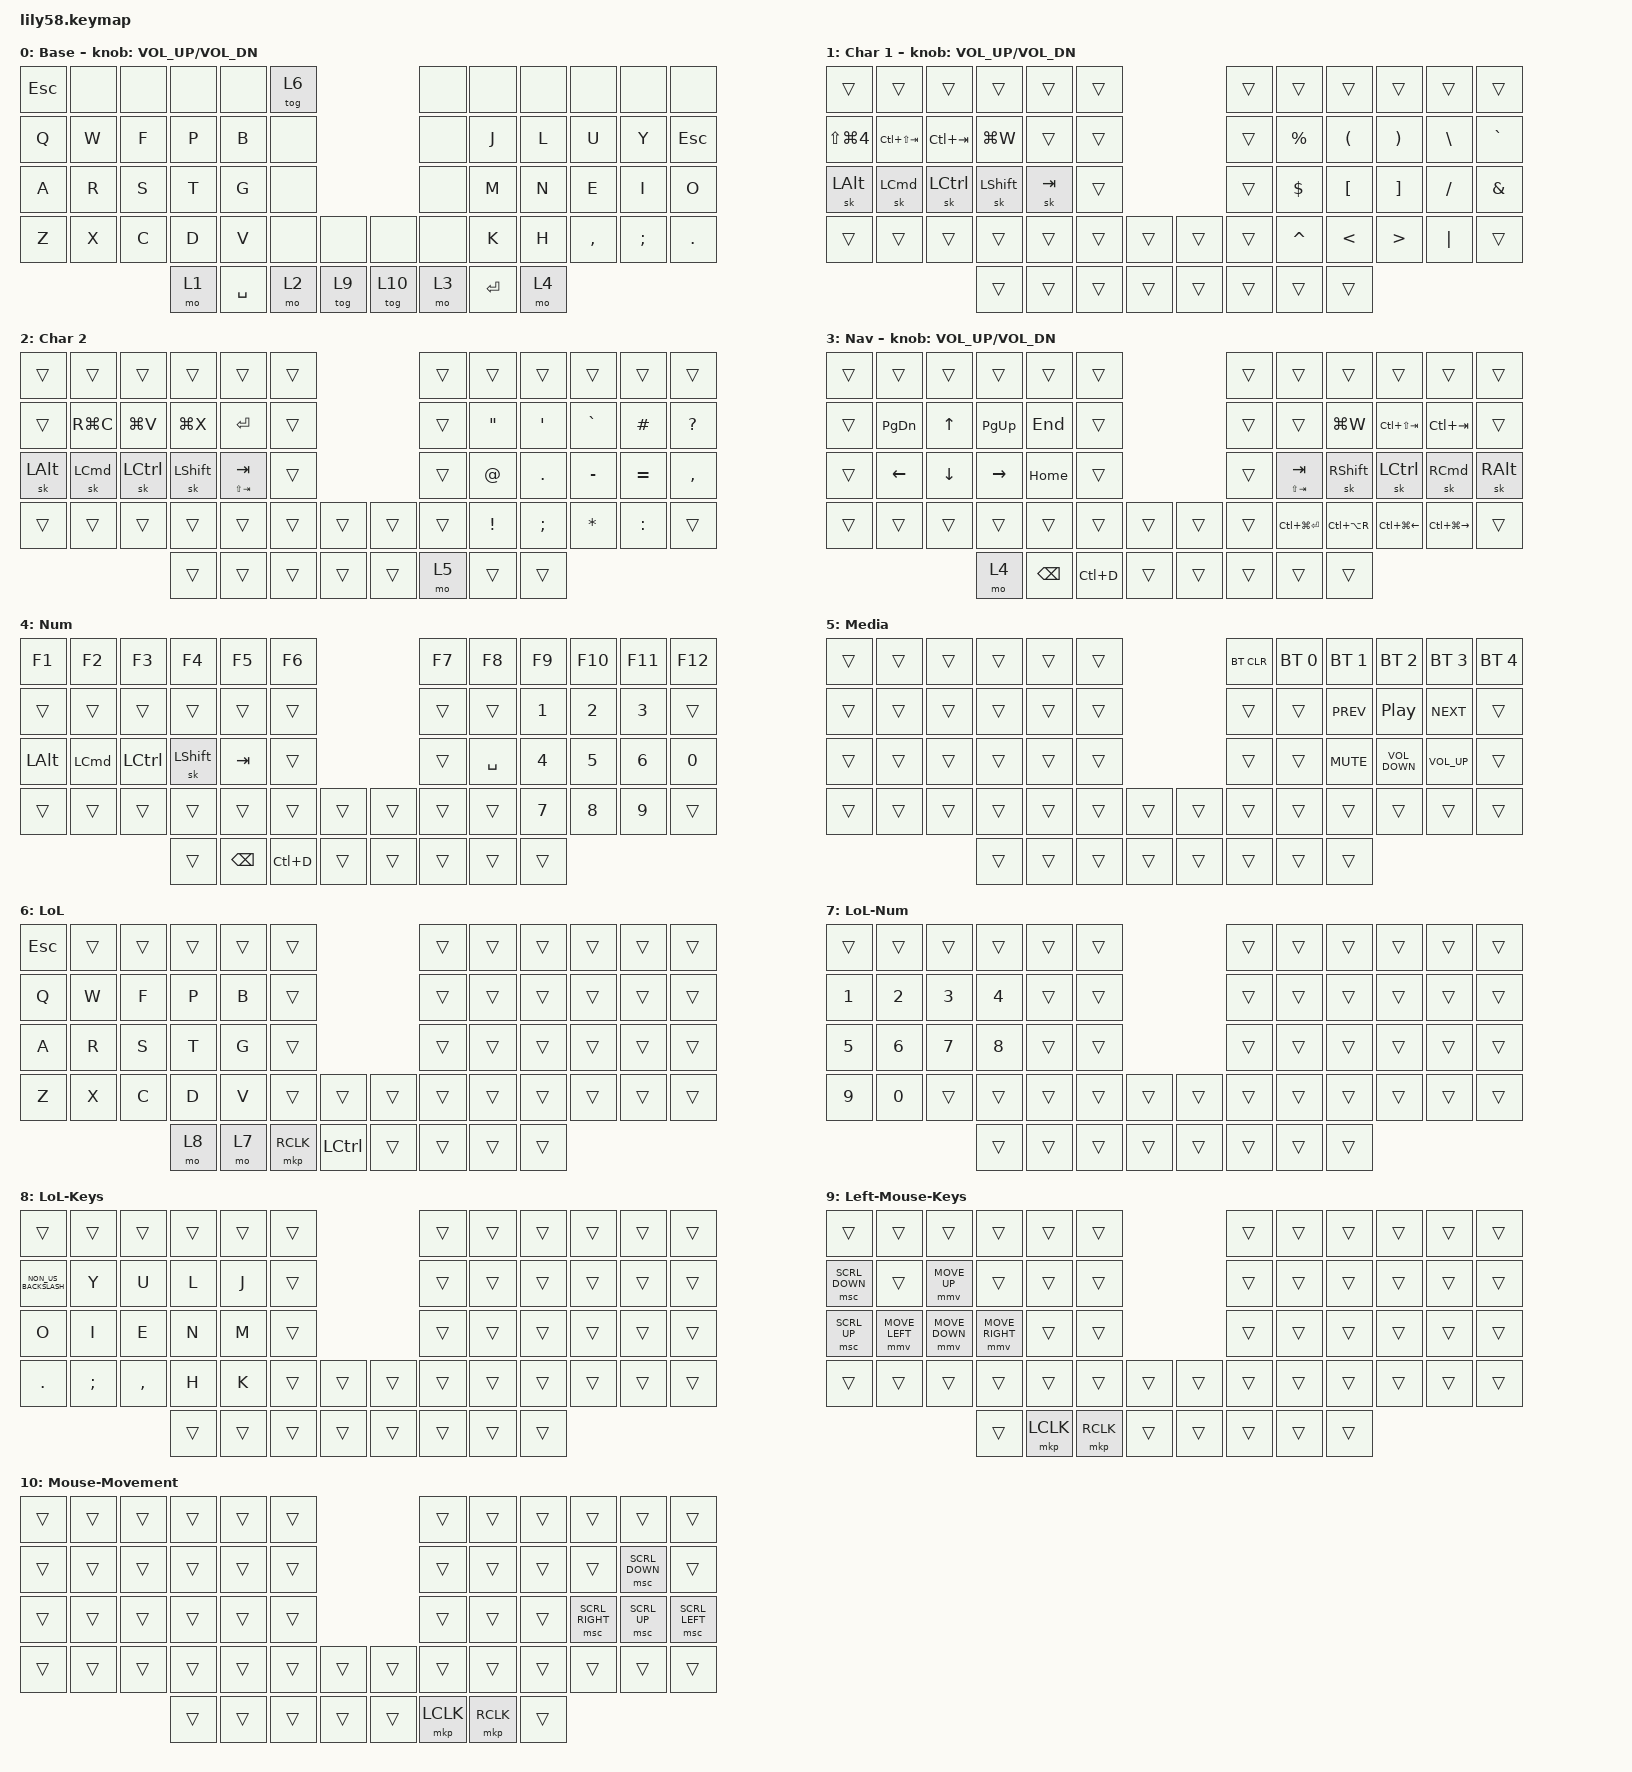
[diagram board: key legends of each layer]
/*
 * Copyright (c) 2020 The ZMK Contributors
 *
 * SPDX-License-Identifier: MIT
 */
// override the default scroll speed

#define ZMK_POINTING_DEFAULT_MOVE_VAL 1200  // default: 600
#define ZMK_POINTING_DEFAULT_SCRL_VAL 15    // default: 10

#include <behaviors.dtsi>
#include <dt-bindings/zmk/bt.h>
#include <dt-bindings/zmk/keys.h>
#include <dt-bindings/zmk/pointing.h>

/ {
    combos {
        compatible = "zmk,combos";

        Left-Word-Higlight {
            bindings = <&kp LA(LS(LEFT))>;
            key-positions = <21 22>;
            layers = <0>;
        };

        Quick-Switcher {
            bindings = <&kp LG(TAB)>;
            key-positions = <14 13>;
            layers = <0>;
        };

        Window-Switcher {
            bindings = <&kp LG(GRAVE)>;
            key-positions = <13 14>;
            layers = <2>;
        };

        Right-Word-Highlight {
            bindings = <&kp LA(LS(RIGHT))>;
            key-positions = <21 22>;
            layers = <3>;
        };

        Spotlight {
            bindings = <&kp LG(SPACE)>;
            key-positions = <52 55>;
            layers = <0>;
        };

        game {
            bindings = <&kp Y>;
            key-positions = <13 14>;
            layers = <6>;
        };
    };

    keymap {
        compatible = "zmk,keymap";

        Default-Layer {
            // ------------------------------------------------------------------------------------------------------------
            // |  ESC  |  1  |  2  |  3   |  4   |  5   |                   |  6   |  7    |  8    |  9   |   0   |   `   |
            // |  TAB  |  Q  |  W  |  E   |  R   |  T   |                   |  Y   |  U    |  I    |  O   |   P   |   -   |
            // |  CTRL |  A  |  S  |  D   |  F   |  G   |                   |  H   |  J    |  K    |  L   |   ;   |   '   |
            // | SHIFT |  Z  |  X  |  C   |  V   |  B   |   "["  |  |  "]"  |  N   |  M    |  ,    |  .   |   /   | SHIFT |
            //                     | ALT  | GUI  | LOWER|  SPACE |  | ENTER | RAISE| BSPC  | GUI   |

            display-name = "Base";
            bindings = <
&kp ESC  &none  &none  &none  &none      &tog 6                     &none  &none      &none  &none      &none          &none
&kp Q    &kp W  &kp F  &kp P  &kp B      &none                      &none  &kp J      &kp L  &kp U      &kp Y          &kp ESCAPE
&kp A    &kp R  &kp S  &kp T  &kp G      &none                      &none  &kp M      &kp N  &kp E      &kp I          &kp O
&kp Z    &kp X  &kp C  &kp D  &kp V      &none   &none     &none    &none  &kp K      &kp H  &kp COMMA  &kp SEMICOLON  &kp PERIOD
                       &mo 1  &kp SPACE  &mo 2   &tog 9    &tog 10  &mo 3  &kp ENTER  &mo 4
            >;

            sensor-bindings = <&inc_dec_kp C_VOL_UP C_VOL_DN>;
        };

        Special-Char-1 {
            // ------------------------------------------------------------------------------------------------------------
            // | BTCLR | BT1 | BT2 |  BT3 |  BT4 |  BT5 |                   |      |       |       |      |       |       |
            // |  F1   |  F2 |  F3 |  F4  |  F5  |  F6  |                   |  F7  |  F8   |  F9   |  F10 |  F11  |  F12  |
            // |   `   |  !  |  @  |  #   |  $   |  %   |                   |  ^   |  &    |  *    |  (   |   )   |   ~   |
            // |       |     |     |      |      |      |        |  |       |      |  _    |  +    |  {   |   }   |  "|"  |
            //                     |      |      |      |        |  |       |      |       |       |

            display-name = "Char 1";
            bindings = <
&trans                &trans            &trans            &trans          &trans   &trans                    &trans  &trans       &trans                &trans                 &trans         &trans
&kp LS(LG(NUMBER_4))  &kp LC(LS(TAB))   &kp LC(TAB)       &kp LG(W)       &trans   &trans                    &trans  &kp PERCENT  &kp LEFT_PARENTHESIS  &kp RIGHT_PARENTHESIS  &kp BACKSLASH  &kp GRAVE
&sk LEFT_ALT          &sk LEFT_COMMAND  &sk LEFT_CONTROL  &sk LEFT_SHIFT  &sk TAB  &trans                    &trans  &kp DOLLAR   &kp LBKT              &kp RBKT               &kp SLASH      &kp AMPERSAND
&trans                &trans            &trans            &trans          &trans   &trans  &trans    &trans  &trans  &kp CARET    &kp LESS_THAN         &kp GREATER_THAN       &kp PIPE       &trans
                                                          &trans          &trans   &trans  &trans    &trans  &trans  &trans       &trans
            >;

            sensor-bindings = <&inc_dec_kp C_VOL_UP C_VOL_DN>;
            label = "Char 1";
        };

        Special-Char-2 {
            bindings = <
&trans    &trans            &trans            &trans          &trans           &trans                    &trans  &trans             &trans         &trans        &trans     &trans
&trans    &kp RG(C)         &kp LG(V)         &kp LG(X)       &kp ENTER        &trans                    &trans  &kp DOUBLE_QUOTES  &kp SQT        &kp GRAVE     &kp HASH   &kp QUESTION
&sk LALT  &sk LEFT_COMMAND  &sk LEFT_CONTROL  &sk LEFT_SHIFT  &mt LS(TAB) TAB  &trans                    &trans  &kp AT_SIGN        &kp PERIOD     &kp MINUS     &kp EQUAL  &kp COMMA
&trans    &trans            &trans            &trans          &trans           &trans  &trans    &trans  &trans  &kp EXCLAMATION    &kp SEMICOLON  &kp ASTERISK  &kp COLON  &trans
                                              &trans          &trans           &trans  &trans    &trans  &mo 5   &trans             &trans
            >;

            label = "Char 2";
        };

        Navigation {
            // ------------------------------------------------------------------------------------------------------------
            // |       |     |     |      |      |      |                   |      |       |       |      |       |       |
            // |   `   |  1  |  2  |  3   |  4   |  5   |                   |  6   |   7   |   8   |  9   |   0   |       |
            // |   F1  |  F2 |  F3 |  F4  |  F5  |  F6  |                   |      |   <-  |   v   |  ^   |  ->   |       |
            // |   F7  |  F8 |  F9 |  F10 |  F11 |  F12 |        |  |       |  +   |   -   |   =   |  [   |   ]   |   \   |
            //                     |      |      |      |        |  |       |      |       |       |

            display-name = "Nav";
            bindings = <
&trans  &trans         &trans        &trans       &trans         &trans                       &trans  &trans             &trans         &trans            &trans             &trans
&trans  &kp PAGE_DOWN  &kp UP_ARROW  &kp PAGE_UP  &kp END        &trans                       &trans  &trans             &kp LG(W)      &kp LC(LS(TAB))   &kp LC(TAB)        &trans
&trans  &kp LEFT       &kp DOWN      &kp RIGHT    &kp HOME       &trans                       &trans  &mt LS(TAB) TAB    &sk RSHFT      &sk LCTRL         &sk RIGHT_COMMAND  &sk RIGHT_ALT
&trans  &trans         &trans        &trans       &trans         &trans     &trans    &trans  &trans  &kp LC(LG(ENTER))  &kp LC(LA(R))  &kp LC(LG(LEFT))  &kp LC(LG(RIGHT))  &trans
                                     &mo 4        &kp BACKSPACE  &kp LC(D)  &trans    &trans  &trans  &trans             &trans
            >;

            sensor-bindings = <&inc_dec_kp C_VOL_UP C_VOL_DN>;
        };

        Numbers {
            bindings = <
&kp F1    &kp F2            &kp F3            &kp F4          &kp F5         &kp F6                       &kp F7  &kp F8     &kp F9  &kp F10  &kp F11  &kp F12
&trans    &trans            &trans            &trans          &trans         &trans                       &trans  &trans     &kp N1  &kp N2   &kp N3   &trans
&kp LALT  &kp LEFT_COMMAND  &kp LEFT_CONTROL  &sk LEFT_SHIFT  &kp TAB        &trans                       &trans  &kp SPACE  &kp N4  &kp N5   &kp N6   &kp N0
&trans    &trans            &trans            &trans          &trans         &trans     &trans    &trans  &trans  &trans     &kp N7  &kp N8   &kp N9   &trans
                                              &trans          &kp BACKSPACE  &kp LC(D)  &trans    &trans  &trans  &trans     &trans
            >;

            label = "Num";
        };

        Media {
            bindings = <
&trans  &trans  &trans  &trans  &trans  &trans                    &bt BT_CLR  &bt BT_SEL 0  &bt BT_SEL 1  &bt BT_SEL 2       &bt BT_SEL 3     &bt BT_SEL 4
&trans  &trans  &trans  &trans  &trans  &trans                    &trans      &trans        &kp C_PREV    &kp C_PP           &kp C_NEXT       &trans
&trans  &trans  &trans  &trans  &trans  &trans                    &trans      &trans        &kp C_MUTE    &kp C_VOLUME_DOWN  &kp C_VOLUME_UP  &trans
&trans  &trans  &trans  &trans  &trans  &trans  &trans    &trans  &trans      &trans        &trans        &trans             &trans           &trans
                        &trans  &trans  &trans  &trans    &trans  &trans      &trans        &trans
            >;
        };

        LoL {
            bindings = <
&kp ESCAPE  &trans  &trans  &trans  &trans  &trans                                 &trans  &trans  &trans  &trans  &trans  &trans
&kp Q       &kp W   &kp F   &kp P   &kp B   &trans                                 &trans  &trans  &trans  &trans  &trans  &trans
&kp A       &kp R   &kp S   &kp T   &kp G   &trans                                 &trans  &trans  &trans  &trans  &trans  &trans
&kp Z       &kp X   &kp C   &kp D   &kp V   &trans     &trans              &trans  &trans  &trans  &trans  &trans  &trans  &trans
                            &mo 8   &mo 7   &mkp RCLK  &kp LEFT_CONTROL    &trans  &trans  &trans  &trans
            >;
        };

        LoL-Num {
            bindings = <
&trans  &trans  &trans  &trans        &trans  &trans                    &trans  &trans  &trans  &trans  &trans  &trans
&kp N1  &kp N2  &kp N3  &kp NUMBER_4  &trans  &trans                    &trans  &trans  &trans  &trans  &trans  &trans
&kp N5  &kp N6  &kp N7  &kp N8        &trans  &trans                    &trans  &trans  &trans  &trans  &trans  &trans
&kp N9  &kp N0  &trans  &trans        &trans  &trans  &trans    &trans  &trans  &trans  &trans  &trans  &trans  &trans
                        &trans        &trans  &trans  &trans    &trans  &trans  &trans  &trans
            >;
        };

        LoL-Keys {
            bindings = <
&trans                &trans    &trans     &trans  &trans  &trans                    &trans  &trans  &trans  &trans  &trans  &trans
&kp NON_US_BACKSLASH  &kp Y     &kp U      &kp L   &kp J   &trans                    &trans  &trans  &trans  &trans  &trans  &trans
&kp O                 &kp I     &kp E      &kp N   &kp M   &trans                    &trans  &trans  &trans  &trans  &trans  &trans
&kp DOT               &kp SEMI  &kp COMMA  &kp H   &kp K   &trans  &trans    &trans  &trans  &trans  &trans  &trans  &trans  &trans
                                           &trans  &trans  &trans  &trans    &trans  &trans  &trans  &trans
            >;
        };

        Left-Mouse-Keys {
            bindings = <
&trans          &trans          &trans          &trans           &trans     &trans                       &trans  &trans  &trans  &trans  &trans  &trans
&msc SCRL_DOWN  &trans          &mmv MOVE_UP    &trans           &trans     &trans                       &trans  &trans  &trans  &trans  &trans  &trans
&msc SCRL_UP    &mmv MOVE_LEFT  &mmv MOVE_DOWN  &mmv MOVE_RIGHT  &trans     &trans                       &trans  &trans  &trans  &trans  &trans  &trans
&trans          &trans          &trans          &trans           &trans     &trans     &trans    &trans  &trans  &trans  &trans  &trans  &trans  &trans
                                                &trans           &mkp LCLK  &mkp RCLK  &trans    &trans  &trans  &trans  &trans
            >;
        };

        Mouse-Movement {
            bindings = <
&trans  &trans  &trans  &trans  &trans  &trans                    &trans     &trans     &trans  &trans           &trans          &trans
&trans  &trans  &trans  &trans  &trans  &trans                    &trans     &trans     &trans  &trans           &msc SCRL_DOWN  &trans
&trans  &trans  &trans  &trans  &trans  &trans                    &trans     &trans     &trans  &msc SCRL_RIGHT  &msc SCRL_UP    &msc SCRL_LEFT
&trans  &trans  &trans  &trans  &trans  &trans  &trans    &trans  &trans     &trans     &trans  &trans           &trans          &trans
                        &trans  &trans  &trans  &trans    &trans  &mkp LCLK  &mkp RCLK  &trans
            >;
        };
    };
};
